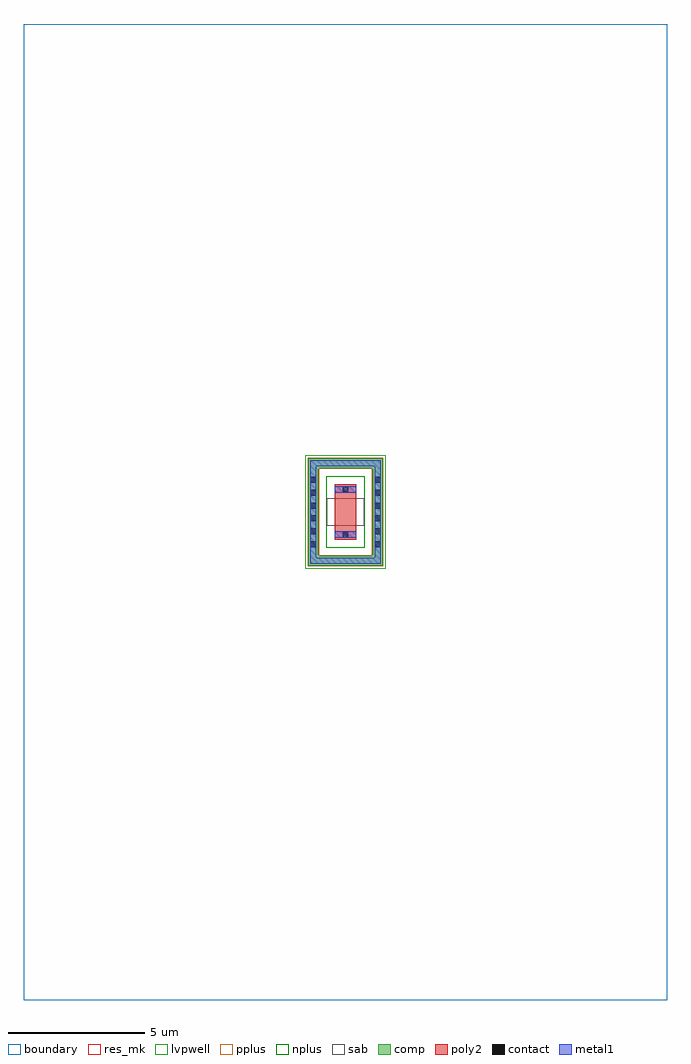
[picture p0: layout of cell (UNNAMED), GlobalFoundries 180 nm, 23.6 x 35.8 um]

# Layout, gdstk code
import gdstk
lib = gdstk.Library(unit=1e-6, precision=1e-09)
def R(c, l, rs):  # rectangles x0, y0, x1, y1
    for r in rs: c.add(gdstk.rectangle(r[:2], r[2:], *l))
def A(c, l, x, y, w, h, nx, ny, dx, dy):  # array of equal rectangles
    R(c, l, [(x+i*dx, y+j*dy, x+i*dx+w, y+j*dy+h) for i in range(nx) for j in range(ny)])
boundary = (0, 0)
comp = (22, 0)
poly2 = (30, 0)
pplus = (31, 0)
nplus = (32, 0)
contact = (33, 0)
metal1 = (34, 0)
sab = (49, 0)
res_mk = (110, 5)
lvpwell = (204, 0)

c__unnamed_ = lib.new_cell('(UNNAMED)')
R(c__unnamed_, boundary, [(-11.8,-17.9,11.8,17.9)])
R(c__unnamed_, comp, [(-1.36,-1.97,1.36,-1.61), (-1.36,-1.61,-1,1.61), (1,-1.61,1.36,1.61), (-1.36,1.61,1.36,1.97)])
R(c__unnamed_, poly2, [(-0.4,-1.01,0.4,1.01)])
R(c__unnamed_, pplus, [(-1.38,-1.99,1.38,-1.59), (-1.38,-1.59,-0.97,-1.485), (0.97,-1.59,1.38,-1.485), (-1.39,-1.485,-0.97,1.485), (0.97,-1.485,1.39,1.485), (-1.38,1.485,-0.97,1.59), (0.97,1.485,1.38,1.59), (-1.38,1.59,1.38,1.99)])
R(c__unnamed_, nplus, [(-0.7,-1.31,0.7,1.31)])
A(c__unnamed_, contact, -1.29, -1.285, 0.22, 0.22, 1, 6, 0, 0.47)
A(c__unnamed_, contact, 1.07, -1.285, 0.22, 0.22, 1, 6, 0, 0.47)
R(c__unnamed_, contact, [(-0.11,-0.94,0.11,-0.72), (-0.11,0.72,0.11,0.94)])
R(c__unnamed_, metal1, [(-1.295,-1.905,1.295,-1.675), (-1.295,-1.675,-1.065,1.675), (1.065,-1.675,1.295,1.675), (-0.39,-0.945,0.39,-0.715), (-0.39,0.715,0.39,0.945), (-1.295,1.675,1.295,1.905)])
R(c__unnamed_, sab, [(-0.68,-0.5,0.68,0.5)])
R(c__unnamed_, res_mk, [(-0.4,-0.5,0.4,0.5)])
R(c__unnamed_, lvpwell, [(-1.48,-2.09,1.48,2.09)])

lib.write_gds('_UNNAMED_.gds')
